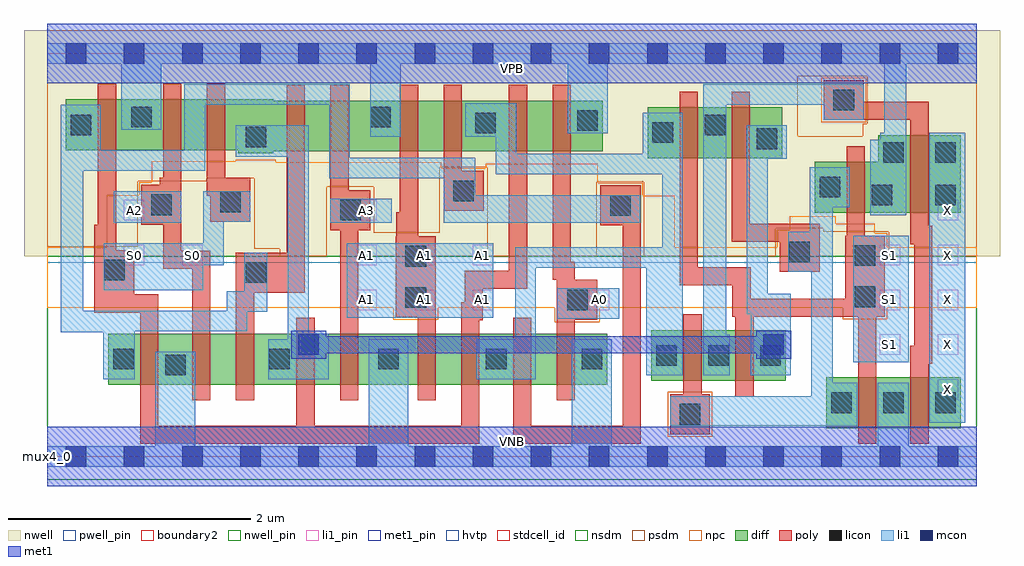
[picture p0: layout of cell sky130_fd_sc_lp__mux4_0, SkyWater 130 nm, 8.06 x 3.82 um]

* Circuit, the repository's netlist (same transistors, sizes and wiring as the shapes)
* Copyright 2020 The SkyWater PDK Authors
*
* Licensed under the Apache License, Version 2.0 (the "License");
* you may not use this file except in compliance with the License.
* You may obtain a copy of the License at
*
*     https://www.apache.org/licenses/LICENSE-2.0
*
* Unless required by applicable law or agreed to in writing, software
* distributed under the License is distributed on an "AS IS" BASIS,
* WITHOUT WARRANTIES OR CONDITIONS OF ANY KIND, either express or implied.
* See the License for the specific language governing permissions and
* limitations under the License.
*
* SPDX-License-Identifier: Apache-2.0

.SUBCKT sky130_fd_sc_lp__mux4_0 A0 A1 A2 A3 S0 S1 VGND VNB VPB VPWR X
*.PININFO A0:I A1:I A2:I A3:I S0:I S1:I VGND:I VNB:I VPB:I VPWR:I X:O
MMNA00 sndNS0ba0 S0b xlowb VNB sky130_fd_pr__nfet_01v8 m=1 w=0.42U l=0.15U mult=1
+ sa=0.265 sb=0.265 sd=0.28 area=0.028 perim=0.76
MMNA01 VGND A0 sndNS0ba0 VNB sky130_fd_pr__nfet_01v8 m=1 w=0.42U l=0.15U mult=1
+ sa=0.265 sb=0.265 sd=0.28 area=0.028 perim=0.76
MMNA10 sndNS0a1 S0 xlowb VNB sky130_fd_pr__nfet_01v8 m=1 w=0.42U l=0.15U mult=1
+ sa=0.265 sb=0.265 sd=0.28 area=0.028 perim=0.76
MMNA11 VGND A1 sndNS0a1 VNB sky130_fd_pr__nfet_01v8 m=1 w=0.42U l=0.15U mult=1
+ sa=0.265 sb=0.265 sd=0.28 area=0.028 perim=0.76
MMNA20 sndNS0ba2 S0b xhib VNB sky130_fd_pr__nfet_01v8 m=1 w=0.42U l=0.15U mult=1
+ sa=0.265 sb=0.265 sd=0.28 area=0.028 perim=0.76
MMNA21 VGND A2 sndNS0ba2 VNB sky130_fd_pr__nfet_01v8 m=1 w=0.42U l=0.15U mult=1
+ sa=0.265 sb=0.265 sd=0.28 area=0.028 perim=0.76
MMNA30 sndNS0a3 S0 xhib VNB sky130_fd_pr__nfet_01v8 m=1 w=0.42U l=0.15U mult=1
+ sa=0.265 sb=0.265 sd=0.28 area=0.028 perim=0.76
MMNA31 VGND A3 sndNS0a3 VNB sky130_fd_pr__nfet_01v8 m=1 w=0.42U l=0.15U mult=1
+ sa=0.265 sb=0.265 sd=0.28 area=0.028 perim=0.76
MMNs1o xb S1b xlowb VNB sky130_fd_pr__nfet_01v8 m=1 w=0.42U l=0.15U mult=1 sa=0.265
+ sb=0.265 sd=0.28 area=0.028 perim=0.76
MMNs2o xb S1 xhib VNB sky130_fd_pr__nfet_01v8 m=1 w=0.42U l=0.15U mult=1 sa=0.265
+ sb=0.265 sd=0.28 area=0.028 perim=0.76
MMIN1 VGND S1 S1b VNB sky130_fd_pr__nfet_01v8 m=1 w=0.42U l=0.15U mult=1 sa=0.265
+ sb=0.265 sd=0.28 area=0.028 perim=0.76
MMIN2 VGND S0 S0b VNB sky130_fd_pr__nfet_01v8 m=1 w=0.42U l=0.15U mult=1 sa=0.265
+ sb=0.265 sd=0.28 area=0.028 perim=0.76
MMIN4 VGND xb X VNB sky130_fd_pr__nfet_01v8 m=1 w=0.42U l=0.15U mult=1 sa=0.265
+ sb=0.265 sd=0.28 area=0.028 perim=0.76
MMPA00 sndPA0a0 A0 VPWR VPB sky130_fd_pr__pfet_01v8_hvt m=1 w=0.42U l=0.15U mult=1
+ sa=0.265 sb=0.265 sd=0.28 area=0.028 perim=0.76
MMPA01 xlowb S0 sndPA0a0 VPB sky130_fd_pr__pfet_01v8_hvt m=1 w=0.42U l=0.15U mult=1
+ sa=0.265 sb=0.265 sd=0.28 area=0.028 perim=0.76
MMPA10 sndPA1a1 A1 VPWR VPB sky130_fd_pr__pfet_01v8_hvt m=1 w=0.42U l=0.15U mult=1
+ sa=0.265 sb=0.265 sd=0.28 area=0.028 perim=0.76
MMPA11 xlowb S0b sndPA1a1 VPB sky130_fd_pr__pfet_01v8_hvt m=1 w=0.42U l=0.15U mult=1
+ sa=0.265 sb=0.265 sd=0.28 area=0.028 perim=0.76
MMPA20 sndPA2a2 A2 VPWR VPB sky130_fd_pr__pfet_01v8_hvt m=1 w=0.42U l=0.15U mult=1
+ sa=0.265 sb=0.265 sd=0.28 area=0.028 perim=0.76
MMPA21 xhib S0 sndPA2a2 VPB sky130_fd_pr__pfet_01v8_hvt m=1 w=0.42U l=0.15U mult=1
+ sa=0.265 sb=0.265 sd=0.28 area=0.028 perim=0.76
MMPA30 sndPA3a3 A3 VPWR VPB sky130_fd_pr__pfet_01v8_hvt m=1 w=0.42U l=0.15U mult=1
+ sa=0.265 sb=0.265 sd=0.28 area=0.028 perim=0.76
MMPA31 xhib S0b sndPA3a3 VPB sky130_fd_pr__pfet_01v8_hvt m=1 w=0.42U l=0.15U mult=1
+ sa=0.265 sb=0.265 sd=0.28 area=0.028 perim=0.76
MMPs1o xb S1 xlowb VPB sky130_fd_pr__pfet_01v8_hvt m=1 w=0.42U l=0.15U mult=1 sa=0.265
+ sb=0.265 sd=0.28 area=0.028 perim=0.76
MMPs2o xb S1b xhib VPB sky130_fd_pr__pfet_01v8_hvt m=1 w=0.42U l=0.15U mult=1 sa=0.265
+ sb=0.265 sd=0.28 area=0.028 perim=0.76
MMIP1 VPWR S1 S1b VPB sky130_fd_pr__pfet_01v8_hvt m=1 w=0.42U l=0.15U mult=1 sa=0.265
+ sb=0.265 sd=0.28 area=0.028 perim=0.76
MMIP2 VPWR S0 S0b VPB sky130_fd_pr__pfet_01v8_hvt m=1 w=0.42U l=0.15U mult=1 sa=0.265
+ sb=0.265 sd=0.28 area=0.028 perim=0.76
MMIP4 VPWR xb X VPB sky130_fd_pr__pfet_01v8_hvt m=1 w=0.64U l=0.15U mult=1 sa=0.265
+ sb=0.265 sd=0.28 area=0.028 perim=0.76
.ENDS sky130_fd_sc_lp__mux4_0

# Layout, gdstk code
import gdstk
lib = gdstk.Library(unit=1e-6, precision=1e-09)
def R(c, l, rs):  # rectangles x0, y0, x1, y1
    for r in rs: c.add(gdstk.rectangle(r[:2], r[2:], *l))
def A(c, l, x, y, w, h, nx, ny, dx, dy):  # array of equal rectangles
    R(c, l, [(x+i*dx, y+j*dy, x+i*dx+w, y+j*dy+h) for i in range(nx) for j in range(ny)])
def P(c, l, *ps):  # polygons
    for p in ps: c.add(gdstk.Polygon(p, *l))
nwell_pin = (64, 16)
nwell = (64, 20)
diff = (65, 20)
poly = (66, 20)
licon = (66, 44)
li1_pin = (67, 16)
li1 = (67, 20)
mcon = (67, 44)
met1_pin = (68, 16)
met1 = (68, 20)
hvtp = (78, 44)
stdcell_id = (81, 4)
nsdm = (93, 44)
psdm = (94, 20)
npc = (95, 20)
pwell_pin = (122, 16)
boundary2 = (236, 0)

sky130_fd_sc_lp__mux4_0 = lib.new_cell('sky130_fd_sc_lp__mux4_0')
R(sky130_fd_sc_lp__mux4_0, nwell_pin, [(0,3.085,7.68,3.33)])
R(sky130_fd_sc_lp__mux4_0, nwell, [(-0.19,1.655,7.87,3.52)])
R(sky130_fd_sc_lp__mux4_0, diff, [(6.435,0.235,7.545,0.655), (0.505,0.595,4.625,1.015), (4.99,0.625,6.1,1.045), (4.96,2.465,6.07,2.885)])
P(sky130_fd_sc_lp__mux4_0, diff, [(4.59,2.94),(1.87,2.94),(1.87,2.95),(0.155,2.95),(0.155,2.53),(1.58,2.53),(1.58,2.505),(1.87,2.505),(1.87,2.52),(4.59,2.52)],
  [(7.545,2.655),(6.865,2.655),(6.865,2.435),(6.34,2.435),(6.34,2.015),(7.545,2.015)])
P(sky130_fd_sc_lp__mux4_0, poly, [(1.35,1.7),(1.11,1.7),(1.11,3.08),(0.96,3.08),(0.96,2.305),(0.93,2.305),(0.93,2.245),(0.78,2.245),(0.78,1.915),(0.96,1.915),(0.96,1.55),(1.2,1.55),(1.2,0.465),(1.35,0.465)],
  [(1.68,2.305),(1.47,2.305),(1.47,3.08),(1.32,3.08),(1.32,2.155),(1.35,2.155),(1.35,1.94),(1.68,1.94)],
  [(2.13,3.07),(1.98,3.07),(1.98,1.685),(1.56,1.685),(1.56,0.465),(1.71,0.465),(1.71,1.355),(2.13,1.355)],
  [(2.67,2.2),(2.49,2.2),(2.49,3.07),(2.34,3.07),(2.34,1.87),(2.42,1.87),(2.42,0.465),(2.57,0.465),(2.57,1.87),(2.67,1.87)],
  [(3.21,1.82),(3.065,1.82),(3.065,3.07),(2.915,3.07),(2.915,2.02),(2.885,2.02),(2.885,1.82),(2.88,1.82),(2.88,1.15),(3.06,1.15),(3.06,0.465),(3.21,0.465)],
  [(3.605,2.36),(3.425,2.36),(3.425,3.07),(3.275,3.07),(3.275,2.03),(3.605,2.03)],
  [(3.965,3.07),(3.815,3.07),(3.815,1.535),(3.45,1.535),(3.45,1.275),(3.42,1.275),(3.42,0.255),(2.21,0.255),(2.21,1.145),(2.06,1.145),(2.06,0.255),(0.92,0.255),(0.92,1.34),(0.72,1.34),(0.72,1.705),(0.57,1.705),(0.57,3.08),(0.42,3.08),(0.42,1.915),(0.39,1.915),(0.39,1.19),(0.77,1.19),(0.77,0.105),(3.57,0.105),(3.57,1.125),(3.6,1.125),(3.6,1.385),(3.965,1.385)],
  [(4.545,1.46),(4.36,1.46),(4.36,1.61),(4.325,1.61),(4.325,3.07),(4.175,3.07),(4.175,1.46),(4.21,1.46),(4.21,0.465),(4.36,0.465),(4.36,1.13),(4.545,1.13)],
  [(4.905,2.24),(4.57,2.24),(4.57,1.91),(4.755,1.91),(4.755,0.255),(4,0.255),(4,1.145),(3.85,1.145),(3.85,0.105),(4.905,0.105)],
  [(5.475,0.515),(5.405,0.515),(5.405,1.175),(5.255,1.175),(5.255,0.515),(5.145,0.515),(5.145,0.185),(5.475,0.185)],
  [(6.38,1.925),(5.805,1.925),(5.805,3.015),(5.655,3.015),(5.655,1.775),(6.05,1.775),(6.05,1.525),(6.38,1.525)],
  [(6.92,1.825),(6.755,1.825),(6.755,2.565),(6.605,2.565),(6.605,1.825),(6.59,1.825),(6.59,1.305),(5.81,1.305),(5.81,1.565),(5.375,1.565),(5.375,3.015),(5.225,3.015),(5.225,1.415),(5.66,1.415),(5.66,1.155),(5.685,1.155),(5.685,0.495),(5.835,0.495),(5.835,1.155),(6.7,1.155),(6.7,0.105),(6.85,0.105),(6.85,1.155),(6.92,1.155)],
  [(7.31,1.905),(7.28,1.905),(7.28,2.93),(6.745,2.93),(6.745,3.11),(6.415,3.11),(6.415,2.78),(7.13,2.78),(7.13,1.755),(7.16,1.755),(7.16,0.915),(7.13,0.915),(7.13,0.105),(7.28,0.105),(7.28,0.765),(7.31,0.765)])
A(sky130_fd_sc_lp__mux4_0, licon, 6.475, 0.36, 0.17, 0.17, 3, 1, 0.43, 0)
A(sky130_fd_sc_lp__mux4_0, licon, 5.03, 0.75, 0.17, 0.17, 3, 1, 0.43, 0)
R(sky130_fd_sc_lp__mux4_0, licon, [(5.225,0.265,5.395,0.435), (0.975,0.67,1.145,0.84), (0.545,0.72,0.715,0.89), (1.835,0.72,2.005,0.89), (2.735,0.72,2.905,0.89), (3.625,0.72,3.795,0.89), (4.415,0.72,4.585,0.89), (4.295,1.21,4.465,1.38), (2.96,1.23,3.13,1.4), (6.67,1.235,6.84,1.405), (1.64,1.435,1.81,1.605), (0.47,1.455,0.64,1.625), (2.96,1.57,3.13,1.74), (6.67,1.575,6.84,1.745), (6.13,1.605,6.3,1.775), (2.42,1.95,2.59,2.12), (4.65,1.99,4.82,2.16), (0.86,1.995,1.03,2.165), (1.43,2.02,1.6,2.19), (6.81,2.075,6.98,2.245), (7.335,2.075,7.505,2.245), (3.355,2.11,3.525,2.28), (6.38,2.14,6.55,2.31), (6.905,2.425,7.075,2.595), (7.335,2.425,7.505,2.595), (5.86,2.54,6.03,2.71), (1.64,2.555,1.81,2.725), (5,2.59,5.17,2.76), (0.195,2.655,0.365,2.825), (5.43,2.655,5.6,2.825), (3.535,2.67,3.705,2.84), (4.38,2.69,4.55,2.86), (0.695,2.72,0.865,2.89), (2.67,2.72,2.84,2.89), (6.495,2.86,6.665,3.03)])
A(sky130_fd_sc_lp__mux4_0, li1_pin, 7.355, 0.47, 0.17, 0.17, 1, 5, 0, 0.37)
A(sky130_fd_sc_lp__mux4_0, li1_pin, 6.875, 0.84, 0.17, 0.17, 1, 3, 0, 0.37)
A(sky130_fd_sc_lp__mux4_0, li1_pin, 2.555, 1.21, 0.17, 0.17, 3, 2, 0.48, 0.37)
R(sky130_fd_sc_lp__mux4_0, li1_pin, [(4.475,1.21,4.645,1.38), (0.635,1.58,0.805,1.75), (1.115,1.58,1.285,1.75), (0.635,1.95,0.805,2.12), (2.555,1.95,2.725,2.12)])
R(sky130_fd_sc_lp__mux4_0, li1, [(7.285,0.28,7.585,2.675), (6.66,0.78,7.115,1.825), (4.215,1.14,4.725,1.39), (2.475,1.145,3.685,1.76), (0.55,1.93,1.11,2.19), (2.34,1.93,2.845,2.13)])
P(sky130_fd_sc_lp__mux4_0, li1, [(3.875,2.5),(4.92,2.5),(4.92,2.84),(5.25,2.84),(5.25,0.67),(4.95,0.67),(4.95,1.56),(4.035,1.56),(4.035,0.64),(3.545,0.64),(3.545,0.97),(3.865,0.97),(3.865,1.73),(5.08,1.73),(5.08,2.33),(3.705,2.33),(3.705,2.64),(3.455,2.64),(3.455,2.92),(3.875,2.92)],
  [(2.655,0.085),(2.655,0.97),(2.985,0.97),(2.985,0.085),(4.335,0.085),(4.335,0.97),(4.665,0.97),(4.665,0.085),(6.86,0.085),(6.86,0.61),(7.115,0.61),(7.115,0.085),(7.68,0.085),(7.68,-0.085),(0,-0.085),(0,0.085),(0.895,0.085),(0.895,0.865),(1.225,0.865),(1.225,0.085)],
  [(0.47,1.375),(0.47,1.76),(1.29,1.76),(1.29,2.19),(1.68,2.19),(1.68,1.94),(1.46,1.94),(1.46,1.58),(1.29,1.58),(1.29,1.375)],
  [(3.535,2.16),(4.9,2.16),(4.9,1.93),(3.275,1.93),(3.275,2.3),(2.33,2.3),(2.33,2.905),(1.305,2.905),(1.305,2.36),(0.3,2.36),(0.3,1.205),(1.485,1.205),(1.485,1.365),(1.63,1.365),(1.63,1.685),(1.82,1.685),(1.82,1.195),(1.655,1.195),(1.655,1.035),(0.725,1.035),(0.725,0.64),(0.465,0.64),(0.465,1.025),(0.115,1.025),(0.115,2.905),(0.445,2.905),(0.445,2.53),(1.135,2.53),(1.135,3.075),(2.5,3.075),(2.5,2.47),(3.535,2.47)],
  [(6.745,3.075),(5.42,3.075),(5.42,0.67),(5.64,0.67),(5.64,1.005),(5.61,1.005),(5.61,2.905),(6.415,2.905),(6.415,2.78),(6.745,2.78)],
  [(6.3,1.855),(6.3,2.39),(6.63,2.39),(6.63,2.06),(6.49,2.06),(6.49,0.61),(6.69,0.61),(6.69,0.255),(5.145,0.255),(5.145,0.5),(6.31,0.5),(6.31,1.525),(6.12,1.525),(6.12,1.855)],
  [(1.825,0.64),(1.825,0.97),(1.99,0.97),(1.99,2.475),(1.56,2.475),(1.56,2.735),(2.16,2.735),(2.16,1.015),(2.325,1.015),(2.325,0.64)],
  [(5.81,0.67),(5.81,1.175),(5.78,1.175),(5.78,2.735),(6.11,2.735),(6.11,2.46),(5.95,2.46),(5.95,1.345),(6.14,1.345),(6.14,0.67)],
  [(7.68,3.415),(0,3.415),(0,3.245),(0.615,3.245),(0.615,2.7),(0.945,2.7),(0.945,3.245),(2.67,3.245),(2.67,2.64),(2.92,2.64),(2.92,3.245),(4.3,3.245),(4.3,2.67),(4.63,2.67),(4.63,3.245),(6.915,3.245),(6.915,2.675),(6.88,2.675),(6.88,2.615),(6.8,2.615),(6.8,1.995),(7.095,1.995),(7.095,3.245),(7.68,3.245)])
A(sky130_fd_sc_lp__mux4_0, mcon, 0.155, -0.085, 0.17, 0.17, 16, 2, 0.48, 3.33)
R(sky130_fd_sc_lp__mux4_0, mcon, [(2.075,0.84,2.245,1.01), (5.915,0.84,6.085,1.01)])
R(sky130_fd_sc_lp__mux4_0, met1_pin, [(0,0,7.68,0.245), (0,3.085,7.68,3.33)])
R(sky130_fd_sc_lp__mux4_0, met1, [(0,-0.245,7.68,0.245), (0,3.085,7.68,3.575)])
P(sky130_fd_sc_lp__mux4_0, met1, [(2.305,0.995),(5.855,0.995),(5.855,1.04),(6.145,1.04),(6.145,0.81),(5.855,0.81),(5.855,0.855),(2.305,0.855),(2.305,0.81),(2.015,0.81),(2.015,1.04),(2.305,1.04)])
R(sky130_fd_sc_lp__mux4_0, hvtp, [(0,1.6,7.68,3.33)])
R(sky130_fd_sc_lp__mux4_0, stdcell_id, [(0,0,7.68,3.33)])
R(sky130_fd_sc_lp__mux4_0, nsdm, [(0,-0.19,7.68,1.655)])
P(sky130_fd_sc_lp__mux4_0, psdm, [(7.68,3.52),(7.27,3.52),(7.27,3.14),(6.775,3.14),(6.775,2.75),(6.735,2.75),(6.735,2.645),(6.2,2.645),(6.2,3.14),(7.27,3.14),(7.27,3.52),(0,3.52),(0,1.735),(0.75,1.735),(0.75,2.275),(1.32,2.275),(1.32,2.3),(1.71,2.3),(1.71,1.715),(1.92,1.715),(1.92,1.655),(2.31,1.655),(2.31,2.23),(2.7,2.23),(2.7,1.85),(3.245,1.85),(3.245,2.39),(3.635,2.39),(3.635,1.655),(4.54,1.655),(4.54,2.27),(4.93,2.27),(4.93,1.655),(6.02,1.655),(6.02,1.885),(6.41,1.885),(6.41,1.855),(6.95,1.855),(6.95,1.655),(7.68,1.655)])
R(sky130_fd_sc_lp__mux4_0, npc, [(5.125,0.165,5.495,0.535), (6.395,2.76,6.765,3.13)])
P(sky130_fd_sc_lp__mux4_0, npc, [(7.68,1.73),(6.94,1.73),(6.94,1.845),(6.835,1.845),(6.835,1.925),(6.515,1.925),(6.515,1.985),(6.135,1.985),(6.135,1.875),(6.03,1.875),(6.03,1.73),(5.185,1.73),(5.185,2.155),(4.92,2.155),(4.92,2.26),(4.55,2.26),(4.55,2.42),(3.625,2.42),(3.625,2.38),(3.255,2.38),(3.255,2.43),(1.89,2.43),(1.89,2.45),(1.56,2.45),(1.56,2.44),(0.865,2.44),(0.865,2.265),(0.76,2.265),(0.76,2.16),(0.495,2.16),(0.495,1.73),(0,1.73),(0,1.23),(2.86,1.23),(2.86,1.13),(3.23,1.13),(3.23,1.23),(4.195,1.23),(4.195,1.11),(4.565,1.11),(4.565,1.23),(6.57,1.23),(6.57,1.135),(6.94,1.135),(6.94,1.23),(7.68,1.23)])
R(sky130_fd_sc_lp__mux4_0, pwell_pin, [(0,0,7.68,0.245)])
R(sky130_fd_sc_lp__mux4_0, boundary2, [(0,0,7.68,3.33)])
sky130_fd_sc_lp__mux4_0.add(gdstk.Label('VNB', (3.84,0.123), layer=64, texttype=59))
sky130_fd_sc_lp__mux4_0.add(gdstk.Label('VPB', (3.84,3.208), layer=64, texttype=5))
sky130_fd_sc_lp__mux4_0.add(gdstk.Label('mux4_0', (0,0), layer=83, texttype=44))
sky130_fd_sc_lp__mux4_0.add(gdstk.Label('VPWR', (3.84,3.208), layer=68, texttype=5))
sky130_fd_sc_lp__mux4_0.add(gdstk.Label('VGND', (3.84,0.123), layer=68, texttype=5))
sky130_fd_sc_lp__mux4_0.add(gdstk.Label('A0', (4.56,1.295), layer=67, texttype=5))
sky130_fd_sc_lp__mux4_0.add(gdstk.Label('S0', (0.72,1.665), layer=67, texttype=5))
sky130_fd_sc_lp__mux4_0.add(gdstk.Label('S0', (1.2,1.665), layer=67, texttype=5))
sky130_fd_sc_lp__mux4_0.add(gdstk.Label('A1', (2.64,1.295), layer=67, texttype=5))
sky130_fd_sc_lp__mux4_0.add(gdstk.Label('A1', (2.64,1.665), layer=67, texttype=5))
sky130_fd_sc_lp__mux4_0.add(gdstk.Label('A1', (3.12,1.295), layer=67, texttype=5))
sky130_fd_sc_lp__mux4_0.add(gdstk.Label('A1', (3.12,1.665), layer=67, texttype=5))
sky130_fd_sc_lp__mux4_0.add(gdstk.Label('A1', (3.6,1.295), layer=67, texttype=5))
sky130_fd_sc_lp__mux4_0.add(gdstk.Label('A1', (3.6,1.665), layer=67, texttype=5))
sky130_fd_sc_lp__mux4_0.add(gdstk.Label('A2', (0.72,2.035), layer=67, texttype=5))
sky130_fd_sc_lp__mux4_0.add(gdstk.Label('A3', (2.64,2.035), layer=67, texttype=5))
sky130_fd_sc_lp__mux4_0.add(gdstk.Label('S1', (6.96,0.925), layer=67, texttype=5))
sky130_fd_sc_lp__mux4_0.add(gdstk.Label('S1', (6.96,1.295), layer=67, texttype=5))
sky130_fd_sc_lp__mux4_0.add(gdstk.Label('S1', (6.96,1.665), layer=67, texttype=5))
sky130_fd_sc_lp__mux4_0.add(gdstk.Label('X', (7.44,0.555), layer=67, texttype=5))
sky130_fd_sc_lp__mux4_0.add(gdstk.Label('X', (7.44,0.925), layer=67, texttype=5))
sky130_fd_sc_lp__mux4_0.add(gdstk.Label('X', (7.44,1.295), layer=67, texttype=5))
sky130_fd_sc_lp__mux4_0.add(gdstk.Label('X', (7.44,1.665), layer=67, texttype=5))
sky130_fd_sc_lp__mux4_0.add(gdstk.Label('X', (7.44,2.035), layer=67, texttype=5))

lib.write_gds('sky130_fd_sc_lp__mux4_0.gds')
